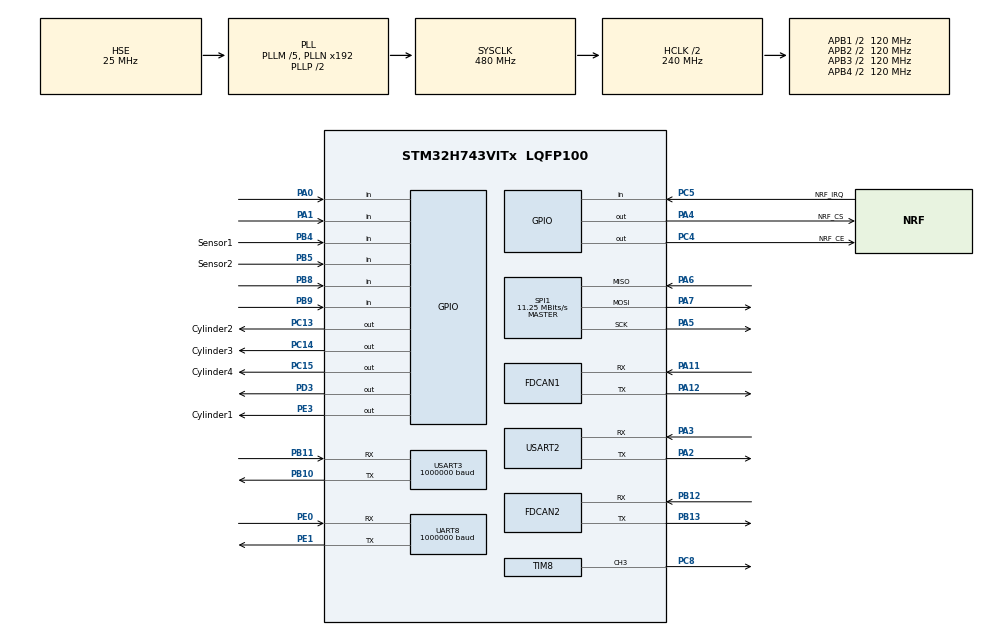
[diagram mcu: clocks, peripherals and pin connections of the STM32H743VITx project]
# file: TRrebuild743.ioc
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CORTEX_M7.CPU_DCache=Disabled
CORTEX_M7.CPU_ICache=Disabled
Dma.Request0=TIM8_CH3
Dma.Request1=USART2_RX
Dma.Request2=USART3_RX
Dma.TIM8_CH3.0.Direction=DMA_MEMORY_TO_PERIPH
Dma.TIM8_CH3.0.EventEnable=DISABLE
Dma.TIM8_CH3.0.FIFOMode=DMA_FIFOMODE_DISABLE
Dma.TIM8_CH3.0.Instance=DMA1_Stream1
Dma.TIM8_CH3.0.MemDataAlignment=DMA_MDATAALIGN_HALFWORD
Dma.TIM8_CH3.0.MemInc=DMA_MINC_ENABLE
Dma.TIM8_CH3.0.Mode=DMA_CIRCULAR
Dma.TIM8_CH3.0.PeriphDataAlignment=DMA_PDATAALIGN_HALFWORD
Dma.TIM8_CH3.0.PeriphInc=DMA_PINC_DISABLE
Dma.TIM8_CH3.0.Polarity=HAL_DMAMUX_REQ_GEN_RISING
Dma.TIM8_CH3.0.Priority=DMA_PRIORITY_HIGH
Dma.TIM8_CH3.0.RequestNumber=1
Dma.TIM8_CH3.0.SignalID=NONE
Dma.TIM8_CH3.0.SyncEnable=DISABLE
Dma.TIM8_CH3.0.SyncPolarity=HAL_DMAMUX_SYNC_NO_EVENT
Dma.TIM8_CH3.0.SyncRequestNumber=1
Dma.TIM8_CH3.0.SyncSignalID=NONE
Dma.USART2_RX.1.Direction=DMA_PERIPH_TO_MEMORY
Dma.USART2_RX.1.EventEnable=DISABLE
Dma.USART2_RX.1.FIFOMode=DMA_FIFOMODE_DISABLE
Dma.USART2_RX.1.Instance=DMA1_Stream2
Dma.USART2_RX.1.MemDataAlignment=DMA_MDATAALIGN_BYTE
Dma.USART2_RX.1.MemInc=DMA_MINC_ENABLE
Dma.USART2_RX.1.Mode=DMA_CIRCULAR
Dma.USART2_RX.1.PeriphDataAlignment=DMA_PDATAALIGN_BYTE
Dma.USART2_RX.1.PeriphInc=DMA_PINC_DISABLE
Dma.USART2_RX.1.Polarity=HAL_DMAMUX_REQ_GEN_RISING
Dma.USART2_RX.1.Priority=DMA_PRIORITY_LOW
Dma.USART2_RX.1.RequestNumber=1
Dma.USART2_RX.1.SignalID=NONE
Dma.USART2_RX.1.SyncEnable=DISABLE
Dma.USART2_RX.1.SyncPolarity=HAL_DMAMUX_SYNC_NO_EVENT
Dma.USART2_RX.1.SyncRequestNumber=1
Dma.USART2_RX.1.SyncSignalID=NONE
Dma.USART3_RX.2.Direction=DMA_PERIPH_TO_MEMORY
Dma.USART3_RX.2.EventEnable=DISABLE
Dma.USART3_RX.2.FIFOMode=DMA_FIFOMODE_DISABLE
Dma.USART3_RX.2.Instance=DMA1_Stream0
Dma.USART3_RX.2.MemDataAlignment=DMA_MDATAALIGN_BYTE
Dma.USART3_RX.2.MemInc=DMA_MINC_ENABLE
Dma.USART3_RX.2.Mode=DMA_CIRCULAR
Dma.USART3_RX.2.PeriphDataAlignment=DMA_PDATAALIGN_BYTE
Dma.USART3_RX.2.PeriphInc=DMA_PINC_DISABLE
Dma.USART3_RX.2.Polarity=HAL_DMAMUX_REQ_GEN_RISING
Dma.USART3_RX.2.Priority=DMA_PRIORITY_LOW
Dma.USART3_RX.2.RequestNumber=1
Dma.USART3_RX.2.SignalID=NONE
Dma.USART3_RX.2.SyncEnable=DISABLE
Dma.USART3_RX.2.SyncPolarity=HAL_DMAMUX_SYNC_NO_EVENT
Dma.USART3_RX.2.SyncRequestNumber=1
Dma.USART3_RX.2.SyncSignalID=NONE
FDCAN1.DataTimeSeg1=15
FDCAN1.DataTimeSeg2=4
FDCAN1.NominalSyncJumpWidth=1
FDCAN1.NominalTimeSeg1=15
FDCAN1.NominalTimeSeg2=4
FDCAN1.RxFifo0ElmtsNbr=32
FDCAN1.StdFiltersNbr=1
FDCAN1.TxBuffersNbr=0
FDCAN1.TxFifoQueueElmtsNbr=16
FDCAN2.DataTimeSeg1=15
FDCAN2.DataTimeSeg2=4
FDCAN2.MessageRAMOffset=0x304
FDCAN2.NominalTimeSeg1=15
FDCAN2.NominalTimeSeg2=4
FDCAN2.RxFifo1ElmtsNbr=32
FDCAN2.StdFiltersNbr=2
FDCAN2.TxFifoQueueElmtsNbr=16
Mcu.Family=STM32H7
Mcu.Name=STM32H743VITx
Mcu.Package=LQFP100
NVIC.DMA1_Stream0_IRQn=true\:0\:0\:false\:false\:true\:false\:true\:true
NVIC.DMA1_Stream1_IRQn=true\:0\:0\:false\:false\:true\:false\:true\:true
NVIC.DMA1_Stream2_IRQn=true\:0\:0\:false\:false\:true\:false\:true\:true
NVIC.FDCAN1_IT0_IRQn=true\:5\:0\:true\:false\:true\:true\:true\:true
NVIC.FDCAN2_IT0_IRQn=true\:0\:0\:false\:false\:true\:true\:true\:true
NVIC.PriorityGroup=NVIC_PRIORITYGROUP_4
NVIC.TIM6_DAC_IRQn=true\:5\:0\:true\:false\:true\:true\:true\:true
NVIC.TIM7_IRQn=true\:1\:0\:true\:false\:true\:true\:true\:true
NVIC.TIM8_BRK_TIM12_IRQn=true\:0\:0\:false\:false\:true\:true\:true\:true
NVIC.TIM8_TRG_COM_TIM14_IRQn=true\:15\:0\:false\:false\:true\:false\:true\:true
NVIC.TIM8_UP_TIM13_IRQn=true\:0\:0\:false\:false\:true\:true\:true\:true
NVIC.TimeBase=TIM8_TRG_COM_TIM14_IRQn
NVIC.TimeBaseIP=TIM14
NVIC.UART8_IRQn=true\:0\:0\:false\:false\:true\:true\:true\:true
NVIC.USART2_IRQn=true\:0\:0\:false\:false\:true\:true\:true\:true
NVIC.USART3_IRQn=true\:0\:0\:false\:false\:true\:true\:true\:true
PA0.GPIO_PuPd=GPIO_PULLDOWN
PA0.Signal=GPIO_Input
PA1.GPIO_PuPd=GPIO_PULLDOWN
PA1.Signal=GPIO_Input
PA11.GPIO_PuPd=GPIO_PULLUP
PA11.GPIO_Speed=GPIO_SPEED_FREQ_VERY_HIGH
PA11.Mode=FDCAN_Activate
PA11.Signal=FDCAN1_RX
PA12.GPIO_PuPd=GPIO_PULLUP
PA12.GPIO_Speed=GPIO_SPEED_FREQ_VERY_HIGH
PA12.Mode=FDCAN_Activate
PA12.Signal=FDCAN1_TX
PA13\ (JTMS/SWDIO).Mode=Serial_Wire
PA13\ (JTMS/SWDIO).Signal=DEBUG_JTMS-SWDIO
PA14\ (JTCK/SWCLK).Mode=Serial_Wire
PA14\ (JTCK/SWCLK).Signal=DEBUG_JTCK-SWCLK
PA2.Mode=Asynchronous
PA2.Signal=USART2_TX
PA3.Mode=Asynchronous
PA3.Signal=USART2_RX
PA4.GPIO_Label=NRF_CS
PA4.GPIO_PuPd=GPIO_PULLUP
PA4.GPIO_Speed=GPIO_SPEED_FREQ_HIGH
PA4.Signal=GPIO_Output
PA5.GPIO_PuPd=GPIO_NOPULL
PA5.GPIO_Speed=GPIO_SPEED_FREQ_VERY_HIGH
PA5.Mode=Full_Duplex_Master
PA5.Signal=SPI1_SCK
PA6.GPIO_PuPd=GPIO_NOPULL
PA6.GPIO_Speed=GPIO_SPEED_FREQ_VERY_HIGH
PA6.Mode=Full_Duplex_Master
PA6.Signal=SPI1_MISO
PA7.GPIO_PuPd=GPIO_NOPULL
PA7.GPIO_Speed=GPIO_SPEED_FREQ_VERY_HIGH
PA7.Mode=Full_Duplex_Master
PA7.Signal=SPI1_MOSI
PB10.Mode=Asynchronous
PB10.Signal=USART3_TX
PB11.Mode=Asynchronous
PB11.Signal=USART3_RX
PB12.GPIO_PuPd=GPIO_PULLUP
PB12.GPIO_Speed=GPIO_SPEED_FREQ_VERY_HIGH
PB12.Mode=FDCAN_Activate
PB12.Signal=FDCAN2_RX
PB13.GPIO_PuPd=GPIO_PULLUP
PB13.GPIO_Speed=GPIO_SPEED_FREQ_VERY_HIGH
PB13.Mode=FDCAN_Activate
PB13.Signal=FDCAN2_TX
PB4\ (NJTRST).GPIO_Label=Sensor1
PB4\ (NJTRST).GPIO_PuPd=GPIO_PULLDOWN
PB4\ (NJTRST).Signal=GPIO_Input
PB5.GPIO_Label=Sensor2
PB5.GPIO_PuPd=GPIO_PULLDOWN
PB5.Signal=GPIO_Input
PB8.GPIO_PuPd=GPIO_PULLDOWN
PB8.Signal=GPIO_Input
PB9.GPIO_PuPd=GPIO_PULLDOWN
PB9.Signal=GPIO_Input
PC13.GPIO_Label=Cylinder2
PC13.GPIO_PuPd=GPIO_PULLUP
PC13.Signal=GPIO_Output
PC14-OSC32_IN\ (OSC32_IN).GPIO_Label=Cylinder3
PC14-OSC32_IN\ (OSC32_IN).GPIO_PuPd=GPIO_PULLUP
PC14-OSC32_IN\ (OSC32_IN).Signal=GPIO_Output
PC15-OSC32_OUT\ (OSC32_OUT).GPIO_Label=Cylinder4
PC15-OSC32_OUT\ (OSC32_OUT).GPIO_PuPd=GPIO_PULLUP
PC15-OSC32_OUT\ (OSC32_OUT).Signal=GPIO_Output
PC4.GPIO_Label=NRF_CE
PC4.GPIO_PuPd=GPIO_PULLUP
PC4.GPIO_Speed=GPIO_SPEED_FREQ_HIGH
PC4.Signal=GPIO_Output
PC5.GPIO_Label=NRF_IRQ
PC5.Signal=GPIO_Input
PC8.GPIO_Speed=GPIO_SPEED_FREQ_VERY_HIGH
PC8.Signal=S_TIM8_CH3
PD3.GPIO_PuPd=GPIO_PULLDOWN
PD3.GPIO_Speed=GPIO_SPEED_FREQ_HIGH
PD3.Signal=GPIO_Output
PE0.Mode=Asynchronous
PE0.Signal=UART8_RX
PE1.Mode=Asynchronous
PE1.Signal=UART8_TX
PE3.GPIO_Label=Cylinder1
PE3.GPIO_PuPd=GPIO_PULLUP
PE3.Signal=GPIO_Output
PH0-OSC_IN\ (PH0).Mode=HSE-External-Oscillator
PH0-OSC_IN\ (PH0).Signal=RCC_OSC_IN
PH1-OSC_OUT\ (PH1).Mode=HSE-External-Oscillator
PH1-OSC_OUT\ (PH1).Signal=RCC_OSC_OUT
ProjectManager.HeapSize=0x3F000
ProjectManager.StackSize=0x2000
ProjectManager.TargetToolchain=MDK-ARM V5.27
RCC.ADCFreq_Value=90000000
RCC.APB1Freq_Value=120000000
RCC.APB2Freq_Value=120000000
RCC.APB3Freq_Value=120000000
RCC.APB4Freq_Value=120000000
RCC.CortexFreq_Value=480000000
RCC.D1PPRE=RCC_APB3_DIV2
RCC.D2PPRE1=RCC_APB1_DIV2
RCC.D2PPRE2=RCC_APB2_DIV2
RCC.D3PPRE=RCC_APB4_DIV2
RCC.DIVM1=5
RCC.DIVM2=5
RCC.DIVN1=192
RCC.DIVN2=90
RCC.DIVP2=5
RCC.DIVQ1=48
RCC.HCLKFreq_Value=240000000
RCC.HPRE=RCC_HCLK_DIV2
RCC.PLL2FRACN=0
RCC.PLL3FRACN=0
RCC.PLLFRACN=0
RCC.PLLSourceVirtual=RCC_PLLSOURCE_HSE
RCC.SPI123CLockSelection=RCC_SPI123CLKSOURCE_PLL2
RCC.SYSCLKFreq_VALUE=480000000
RCC.SYSCLKSource=RCC_SYSCLKSOURCE_PLLCLK
RCC.USBFreq_Value=20000000
SH.S_TIM8_CH3.0=TIM8_CH3,PWM Generation3 CH3
SPI1.BaudRatePrescaler=SPI_BAUDRATEPRESCALER_8
SPI1.CalculateBaudRate=11.25 MBits/s
SPI1.DataSize=SPI_DATASIZE_8BIT
SPI1.Direction=SPI_DIRECTION_2LINES
SPI1.Mode=SPI_MODE_MASTER
SPI1.VirtualType=VM_MASTER
TIM6.Period=1999
TIM6.Prescaler=239
TIM7.Period=100-1
TIM7.Prescaler=240-1
TIM8.AutoReloadPreload=TIM_AUTORELOAD_PRELOAD_DISABLE
TIM8.Channel-PWM\ Generation3\ CH3=TIM_CHANNEL_3
TIM8.Period=75-1
TIM8.Prescaler=4-1
UART8.BaudRate=1000000
UART8.OverrunDisableParam=UART_ADVFEATURE_OVERRUN_DISABLE
USART2.VirtualMode-Asynchronous=VM_ASYNC
USART3.BaudRate=1000000
USART3.OverrunDisableParam=ADVFEATURE_OVERRUN_DISABLE
USART3.VirtualMode-Asynchronous=VM_ASYNC
VP_SYS_VS_tim14.Mode=TIM14
VP_TIM6_VS_ClockSourceINT.Mode=Enable_Timer
VP_TIM7_VS_ClockSourceINT.Mode=Enable_Timer
VP_TIM8_VS_ClockSourceINT.Mode=Internal
board=custom

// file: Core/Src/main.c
/* USER CODE BEGIN Header */
/**
  ******************************************************************************
  * @file           : main.c
  * @brief          : Main program body
  ******************************************************************************
  * @attention
  *
  * <h2><center>&copy; Copyright (c) 2022 STMicroelectronics.
  * All rights reserved.</center></h2>
  *
  * This software component is licensed by ST under Ultimate Liberty license
  * SLA0044, the "License"; You may not use this file except in compliance with
  * the License. You may obtain a copy of the License at:
  *                             www.st.com/SLA0044
  *
  ******************************************************************************
  */
/* USER CODE END Header */
#include "main.h"
#include "dma.h"
#include "fdcan.h"
#include "spi.h"
#include "tim.h"
#include "usart.h"
#include "gpio.h"

/* USER CODE BEGIN Includes */
#include "Lidar.h"
#include "fdcan_bsp.h"
#include "math.h"
#include "usart.h"
#include "arm_math.h"
#include "rgb.h"
/* USER CODE END Includes */

/* USER CODE BEGIN PV */

float last_pos_x=0,last_pos_y=0;
uint8_t rxtemp=0;
int rocker[4];
uint8_t turret_buffer[8];
uint8_t dma_buffer[4200]={0};
uint8_t raw_data_buffer[4200]={0};
uint8_t raw_data_flag=0;
uint8_t tof_buffer[10]={0};
short tof_read;
uint8_t Rx_buffer[16]={0};
uint8_t huart3_rxbuffer[16]={0};
uint8_t R1_buf[16]={0};
int global_clock;
int speed_clock;
uint32_t speed_timer=0;
float vx[10],vy[10],ababa;
uint8_t pos_reset=0;
uint8_t error=0;
uint8_t block_color=0;
uint8_t communciation_error_counter=0;
extern uint8_t get_block_flag;
uint8_t last;
//int package_recieve=0,package_valid=0;
//int start_nbr=0;

/* USER CODE END PV */

void SystemClock_Config(void);
/* USER CODE BEGIN PFP */
void DMA_recieve(void);
void send_log(uint8_t ID,float data1,float data2,float data3,float data4,UART_HandleTypeDef *uart);
void send_msg(void);
void send_init_msg(UART_HandleTypeDef *uart,uint8_t ID);
extern uint16_t RGB_DEFAULT[2];
/* USER CODE END PFP */

int main(void)
{

  /* MCU Configuration--------------------------------------------------------*/

  /* Reset of all peripherals, Initializes the Flash interface and the Systick. */
  HAL_Init();

  /* Configure the system clock */
  SystemClock_Config();

  /* Initialize all configured peripherals */
  MX_GPIO_Init();
  MX_DMA_Init();
  MX_SPI1_Init();
  MX_TIM6_Init();
  MX_TIM7_Init();
  MX_UART8_Init();
  MX_TIM8_Init();
  MX_FDCAN1_Init();
  MX_FDCAN2_Init();
  MX_USART3_UART_Init();
  MX_USART2_UART_Init();
  /* USER CODE BEGIN 2 */
	uint8_t lidar_cmd_buf[9];

	last=0xA5;
    HAL_Delay(20);
    FDCAN1_Init(&hfdcan1);
    HAL_Delay(2000);
    HAL_TIM_Base_Start_IT(&htim7);
    HAL_Delay(200);
    FDCAN2_Init(&hfdcan2);
    HAL_Delay(20);
	lidar_cmd_buf[0]=0xA5;
	lidar_cmd_buf[1]=0x25;
	HAL_UART_Transmit(&huart3,lidar_cmd_buf,2,10);
	HAL_Delay(1400);

    MX_USART3_UART_Init();

    RGB_DEFAULT[0]=0;
    RGB_Color(&htim8,TIM_CHANNEL_3,RGB_DEFAULT,0.2f);
    RGB_Init(&htim8,TIM_CHANNEL_3);

	lidar_cmd_buf[0]=0xA5;
	lidar_cmd_buf[1]=0x82;
	lidar_cmd_buf[2]=0x05;
	lidar_cmd_buf[3]=0;
	lidar_cmd_buf[4]=0;
	lidar_cmd_buf[5]=0;
	lidar_cmd_buf[6]=0;
	lidar_cmd_buf[7]=0;
	lidar_cmd_buf[8]=0x22;
	HAL_UART_Transmit(&huart3,lidar_cmd_buf,9,10);
	HAL_UART_Receive_IT(&huart3,dma_buffer,7);
	//HAL_UART_Receive_IT(&huart2,R1_buf,16);

    HAL_TIM_Base_Start_IT(&htim6);
    extern uint8_t block_num;

  /* USER CODE END 2 */

  /* Infinite loop */
  while (1)
  {

  }
}

void SystemClock_Config(void)
{
  RCC_OscInitTypeDef RCC_OscInitStruct = {0};
  RCC_ClkInitTypeDef RCC_ClkInitStruct = {0};

  /** Supply configuration update enable
  */
  HAL_PWREx_ConfigSupply(PWR_LDO_SUPPLY);

  /** Configure the main internal regulator output voltage
  */
  __HAL_PWR_VOLTAGESCALING_CONFIG(PWR_REGULATOR_VOLTAGE_SCALE0);

  while(!__HAL_PWR_GET_FLAG(PWR_FLAG_VOSRDY)) {}

  /** Macro to configure the PLL clock source
  */
  __HAL_RCC_PLL_PLLSOURCE_CONFIG(RCC_PLLSOURCE_HSE);

  /** Initializes the RCC Oscillators according to the specified parameters
  * in the RCC_OscInitTypeDef structure.
  */
  RCC_OscInitStruct.OscillatorType = RCC_OSCILLATORTYPE_HSE;
  RCC_OscInitStruct.HSEState = RCC_HSE_ON;
  RCC_OscInitStruct.PLL.PLLState = RCC_PLL_ON;
  RCC_OscInitStruct.PLL.PLLSource = RCC_PLLSOURCE_HSE;
  RCC_OscInitStruct.PLL.PLLM = 5;
  RCC_OscInitStruct.PLL.PLLN = 192;
  RCC_OscInitStruct.PLL.PLLP = 2;
  RCC_OscInitStruct.PLL.PLLQ = 48;
  RCC_OscInitStruct.PLL.PLLR = 2;
  RCC_OscInitStruct.PLL.PLLRGE = RCC_PLL1VCIRANGE_2;
  RCC_OscInitStruct.PLL.PLLVCOSEL = RCC_PLL1VCOWIDE;
  RCC_OscInitStruct.PLL.PLLFRACN = 0;
  if (HAL_RCC_OscConfig(&RCC_OscInitStruct) != HAL_OK)
  {
    Error_Handler();
  }

  /** Initializes the CPU, AHB and APB buses clocks
  */
  RCC_ClkInitStruct.ClockType = RCC_CLOCKTYPE_HCLK|RCC_CLOCKTYPE_SYSCLK
                              |RCC_CLOCKTYPE_PCLK1|RCC_CLOCKTYPE_PCLK2
                              |RCC_CLOCKTYPE_D3PCLK1|RCC_CLOCKTYPE_D1PCLK1;
  RCC_ClkInitStruct.SYSCLKSource = RCC_SYSCLKSOURCE_PLLCLK;
  RCC_ClkInitStruct.SYSCLKDivider = RCC_SYSCLK_DIV1;
  RCC_ClkInitStruct.AHBCLKDivider = RCC_HCLK_DIV2;
  RCC_ClkInitStruct.APB3CLKDivider = RCC_APB3_DIV2;
  RCC_ClkInitStruct.APB1CLKDivider = RCC_APB1_DIV2;
  RCC_ClkInitStruct.APB2CLKDivider = RCC_APB2_DIV2;
  RCC_ClkInitStruct.APB4CLKDivider = RCC_APB4_DIV2;

  if (HAL_RCC_ClockConfig(&RCC_ClkInitStruct, FLASH_LATENCY_4) != HAL_OK)
  {
    Error_Handler();
  }
}

/* USER CODE BEGIN 4 */

void send_msg(void)
{
    uint8_t msg_buffer[30];

    HAL_UART_Transmit(&huart8,msg_buffer,16,20);
    //HAL_UART_Transmit(&huart3,msg_buffer,16,200);
    return;
}

void send_init_msg(UART_HandleTypeDef *uart,uint8_t ID)
{
    uint8_t msg_buffer[16];
    msg_buffer[0]='?';
    msg_buffer[1]='!';
    msg_buffer[2]=ID;
//    int ax,ay,az;
//    ax=data1*1000;
//    ay=data2*1000;
//    memcpy(msg_buffer+3,&ax,4);
//    memcpy(msg_buffer+7,&ay,4);
//    az=(int)(gyro.z*1000);
//    memcpy(msg_buffer+11,&az,4);
    msg_buffer[15]='!';
    HAL_UART_Transmit(uart,msg_buffer,16,200);
    return;
}

void send_log(uint8_t ID,float data1,float data2,float data3,float data4,UART_HandleTypeDef *uart)
{
    uint8_t abaaba[18];
    abaaba[0]=0x02;
    abaaba[17]=ID;
    memcpy(abaaba+1,&data1,4);
    memcpy(abaaba+5,&data2,4);
    memcpy(abaaba+9,&data3,4);
    memcpy(abaaba+13,&data4,4);
    HAL_UART_Transmit(uart,abaaba,18,1);
    return;
}

void send_log2(float data1,float data2,float data3,float data4,UART_HandleTypeDef *uart)
{
    uint8_t abaaba[20];
    memcpy(abaaba,&data1,4);
    memcpy(abaaba+4,&data2,4);
    memcpy(abaaba+8,&data3,4);
    memcpy(abaaba+12,&data4,4);
    abaaba[19]=0x7f;
    abaaba[18]=0x80;
    abaaba[17]=0x00;
    abaaba[16]=0x00;
    HAL_UART_Transmit(uart,abaaba,20,1);
    return;
}

void send_log3(float data1,float data2,float data3,uint8_t id,UART_HandleTypeDef *uart)
{
    uint8_t msg_buffer[16];
    int ax,ay,az;
    msg_buffer[0]='?';
    msg_buffer[1]='!';
    msg_buffer[2]=id;
    ax=data1*1000;
    ay=data2*1000;
    memcpy(msg_buffer+3,&ax,4);
    memcpy(msg_buffer+7,&ay,4);
    az=(int)(data3*1000);
    memcpy(msg_buffer+11,&az,4);
    msg_buffer[15]='!';

    HAL_UART_Transmit(uart,msg_buffer,16,1);
    return;
}

void tof_recieve()
{
    if(__HAL_UART_GET_FLAG(&huart2,UART_FLAG_ORE) != RESET)
    {
        __HAL_UART_CLEAR_OREFLAG(&huart2);
    }
    uint8_t buffer[4]={0};
    int i=0;
    for(;i<10;i++)
    {
        if(tof_buffer[i]==0x59)
        {
            break;
        }
    }
    if(i==9&&tof_buffer[i]!=0x59) return;

    for(int k=0;k<4;k++)
    {
        buffer[k]=tof_buffer[i];
        if(k==1&&tof_buffer[i]!=0x59)
            return;
        if(i==9)
            i=0;
        else
            i++;

    }

    if(*((short*)(buffer+2))<=1000&&*((short*)(buffer+2))>=0)
        tof_read=*((short*)(buffer+2))/0.88f;
    else
        tof_read=0;
    return;
}

void HAL_UART_RxCpltCallback(UART_HandleTypeDef *huart)
{

	if(lidar_init_flag==0&&huart==&huart3)
	{
		lidar_init_flag=1;
		HAL_UART_Receive_DMA(&huart3,dma_buffer,4200);
		RGB_DEFAULT[0]=50;
		RGB_Color(&htim8,TIM_CHANNEL_3,RGB_DEFAULT,0.2f);
		return;
	}

}

uint8_t cmp_buf[5]={0};

uint8_t ababab(uint8_t *src,uint8_t *dest)
{
	for(int i=0;i<5;i++)
	{
		if(src[i]!=dest[i])
		{
			return 1;
		}
	}
	return 0;
}

void msg_transfer(float angle,float dist,int id)
{
	int intangle=(angle*1000.0f),intdist=(dist*1000.0f);
	uint8_t msg_buf[8];
	memcpy(msg_buf,&intangle,4);
	memcpy(msg_buf+4,&intdist,4);
	FDCAN_SendData(&hfdcan1,msg_buf,0x114+id,8);
}

/* USER CODE END 4 */

void HAL_TIM_PeriodElapsedCallback(TIM_HandleTypeDef *htim)
{
  if (htim->Instance == TIM14) {
    HAL_IncTick();
  }
  /* USER CODE BEGIN Callback 1 */
	else if(htim->Instance == TIM6)	/**/
	{
		if(raw_data_flag==1)
		{
			for(int i=0;i<50;i++)
			{
				data_update(raw_data_buffer+i*84);
				raw_data_flag=0;
			}
		}
		else if(error!=1)
		{

			float angle,dist;

			Tran_XY_To_Angle_Distance(BOHH[3],&angle,&dist);
			if(angle!=-190)
				msg_transfer(angle,dist,0);
			Tran_XY_To_Angle_Distance(BOHH[2],&angle,&dist);
			if(angle!=-190)
				msg_transfer(angle,dist,1);
			Tran_XY_To_Angle_Distance(BOHH[0],&angle,&dist);
			if(angle!=-190)
				msg_transfer(angle,dist,2);
			Tran_XY_To_Angle_Distance(BOHH[1],&angle,&dist);
			if(angle!=-190)
				msg_transfer(angle,dist,3);

		}
	}
	else if(htim->Instance == TIM7)
	{
//		if(__HAL_UART_GET_FLAG(huart3,UART_FLAG_ORE) != RESET)
//		{
//			__HAL_UART_CLEAR_OREFLAG(huart3);
//			HAL_UART_Receive_IT(&huart3,dma_buffer,5);
//		}
        speed_clock++;

         if(speed_clock==2)
		 {
			if(ababab(cmp_buf,&dma_buffer[4195]))
			{
				if(dma_buffer[0]>>4!=0xA)
					error=1;
				memcpy(cmp_buf,&dma_buffer[4195],5);
				memcpy(raw_data_buffer,dma_buffer,4200);
				raw_data_flag=1;
			}
            speed_clock=0;
		 }
        speed_timer++;
	}
    else if(htim->Instance == TIM16)
    {

    }
  /* USER CODE END Callback 1 */
}

void Error_Handler(void)
{
  __disable_irq();
  while (1)
  {
  }
}
